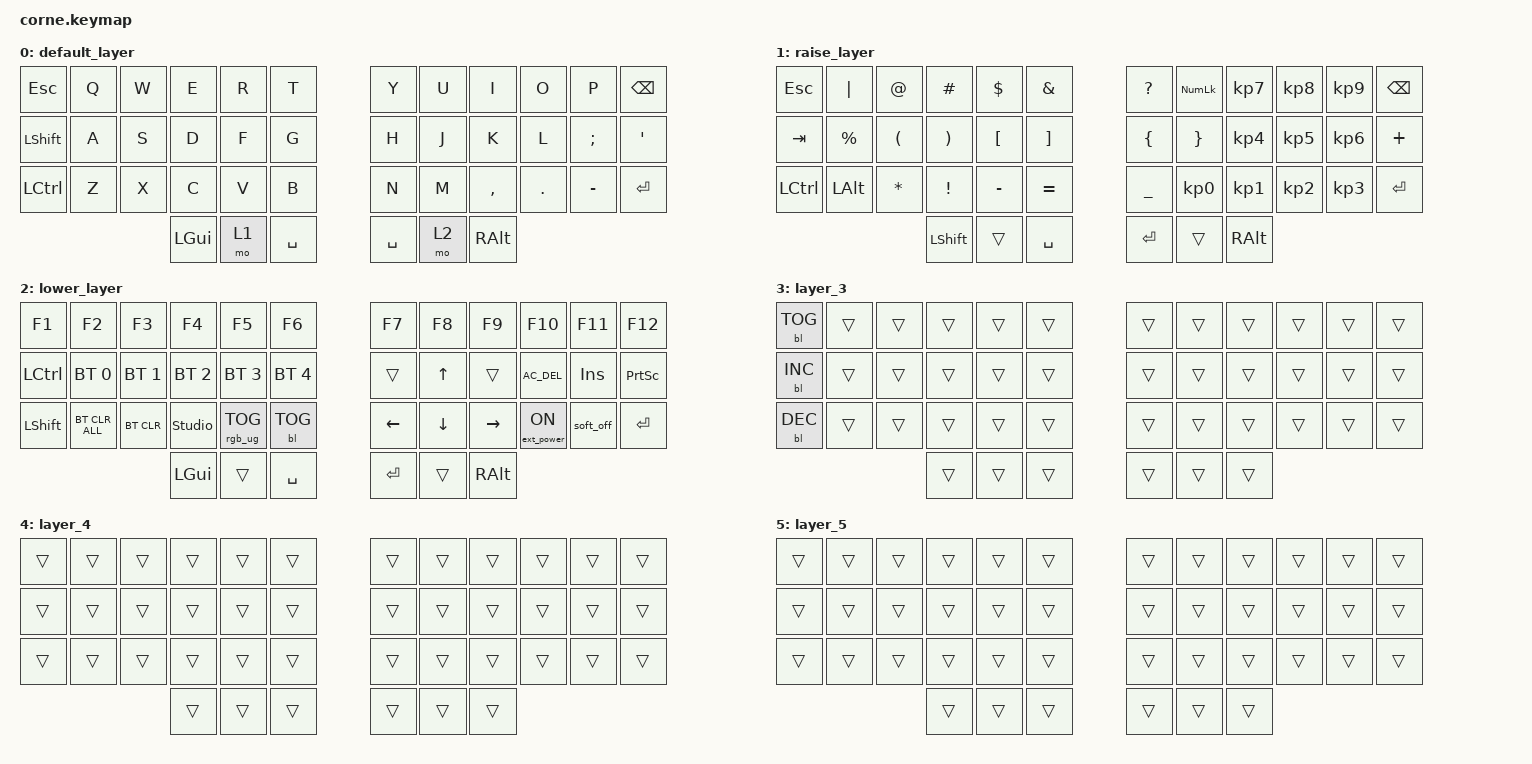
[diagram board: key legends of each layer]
/*
 * Copyright (c) 2020 The ZMK Contributors
 *
 * SPDX-License-Identifier: MIT
 */

#include <behaviors.dtsi>
#include <dt-bindings/zmk/backlight.h>
#include <dt-bindings/zmk/bt.h>
#include <dt-bindings/zmk/ext_power.h>
#include <dt-bindings/zmk/keys.h>
#include <dt-bindings/zmk/rgb.h>

// Only turn off if the key is held 3 seconds

&soft_off { hold-time-ms = <3000>; };

// LEDs per half (27 = underglow + per-key; use 10 if you only have underglow)

&led_strip { chain-length = <27>; };

/ {
    keymap {
        compatible = "zmk,keymap";

        default_layer {
            // -----------------------------------------------------------------------------------------
            // |  TAB |  Q  |  W  |  E  |  R  |  T  |   |  Y  |  U   |  I  |  O  |  P  | BSPC |
            // | CTRL |  A  |  S  |  D  |  F  |  G  |   |  H  |  J   |  K  |  L  |  ;  |  '   |
            // | SHFT |  Z  |  X  |  C  |  V  |  B  |   |  N  |  M   |  ,  |  .  |  /  | ESC  |
            //                    | GUI | LWR | SPC |   | ENT | RSE  | ALT |

            bindings = <
&kp ESC    &kp Q  &kp W  &kp E     &kp R  &kp T        &kp Y      &kp U  &kp I      &kp O    &kp P      &kp BSPC
&kp LSHFT  &kp A  &kp S  &kp D     &kp F  &kp G        &kp H      &kp J  &kp K      &kp L    &kp SEMI   &kp SQT
&kp LCTRL  &kp Z  &kp X  &kp C     &kp V  &kp B        &kp N      &kp M  &kp COMMA  &kp DOT  &kp MINUS  &kp ENTER
                         &kp LGUI  &mo 1  &kp SPACE    &kp SPACE  &mo 2  &kp RALT
            >;
        };

        raise_layer {
            // -----------------------------------------------------------------------------------------
            // |  TAB |  !  |  @  |  #  |  $  |  %  |   |  ^  |  &  |  *  |  (  |  )  | BSPC |
            // | CTRL |     |     |     |     |     |   |  -  |  =  |  [  |  ]  |  \  |  `   |
            // | SHFT |     |     |     |     |     |   |  _  |  +  |  {  |  }  | "|" |  ~   |
            //                    | GUI |     | SPC |   | ENT |     | ALT |

            bindings = <
&kp ESC    &kp PIPE      &kp AT                &kp HASH               &kp DLLR   &kp AMPERSAND    &kp QUESTION    &kp KP_NUMLOCK   &kp KP_NUMBER_7  &kp KP_NUMBER_8  &kp KP_NUMBER_9  &kp BSPC
&kp TAB    &kp PERCENT   &kp LEFT_PARENTHESIS  &kp RIGHT_PARENTHESIS  &kp LBKT   &kp RBKT         &kp LEFT_BRACE  &kp RIGHT_BRACE  &kp KP_NUMBER_4  &kp KP_NUMBER_5  &kp KP_NUMBER_6  &kp PLUS
&kp LCTRL  &kp LEFT_ALT  &kp ASTERISK          &kp EXCLAMATION        &kp MINUS  &kp EQUAL        &kp UNDER       &kp KP_NUMBER_0  &kp KP_NUMBER_1  &kp KP_NUMBER_2  &kp KP_NUMBER_3  &kp RETURN
                                               &kp LSHIFT             &trans     &kp SPACE        &kp RET         &trans           &kp RALT
            >;
        };

        lower_layer {
            // -----------------------------------------------------------------------------------------
            // |  TAB |  1  |  2  |  3  |  4  |  5  |   |  6  |  7  |  8  |  9  |  0  | BSPC |
            // | BTCLR| BT1 | BT2 | BT3 | BT4 | BT5 |   | LFT | DWN |  UP | RGT |     |      |
            // | SHFT |     |     |     |     |     |   |     |     |     |     |     |      |
            //                    | GUI |     | SPC |   | ENT |     | ALT |

            bindings = <
&kp F1     &kp F2          &kp F3        &kp F4          &kp F5           &kp F6          &kp F7          &kp F8          &kp F9           &kp F10           &kp F11     &kp F12
&kp LCTRL  &bt BT_SEL 0    &bt BT_SEL 1  &bt BT_SEL 2    &bt BT_SEL 3     &bt BT_SEL 4    &trans          &kp UP_ARROW    &trans           &kp C_AC_DEL      &kp INSERT  &kp PRINTSCREEN
&kp LSHFT  &bt BT_CLR_ALL  &bt BT_CLR    &studio_unlock  &rgb_ug RGB_TOG  &bl BL_TOG      &kp LEFT_ARROW  &kp DOWN_ARROW  &kp RIGHT_ARROW  &ext_power EP_ON  &soft_off   &kp ENTER
                                         &kp LGUI        &trans           &kp SPACE       &kp RET         &trans          &kp RALT
            >;
        };

        layer_3 {
            bindings = <
&bl BL_TOG  &trans  &trans  &trans  &trans  &trans    &trans  &trans  &trans  &trans  &trans  &trans
&bl BL_INC  &trans  &trans  &trans  &trans  &trans    &trans  &trans  &trans  &trans  &trans  &trans
&bl BL_DEC  &trans  &trans  &trans  &trans  &trans    &trans  &trans  &trans  &trans  &trans  &trans
                            &trans  &trans  &trans    &trans  &trans  &trans
            >;
        };

        layer_4 {
            bindings = <
&trans  &trans  &trans  &trans  &trans  &trans    &trans  &trans  &trans  &trans  &trans  &trans
&trans  &trans  &trans  &trans  &trans  &trans    &trans  &trans  &trans  &trans  &trans  &trans
&trans  &trans  &trans  &trans  &trans  &trans    &trans  &trans  &trans  &trans  &trans  &trans
                        &trans  &trans  &trans    &trans  &trans  &trans
            >;
        };

        layer_5 {
            bindings = <
&trans  &trans  &trans  &trans  &trans  &trans    &trans  &trans  &trans  &trans  &trans  &trans
&trans  &trans  &trans  &trans  &trans  &trans    &trans  &trans  &trans  &trans  &trans  &trans
&trans  &trans  &trans  &trans  &trans  &trans    &trans  &trans  &trans  &trans  &trans  &trans
                        &trans  &trans  &trans    &trans  &trans  &trans
            >;
        };
    };
};
